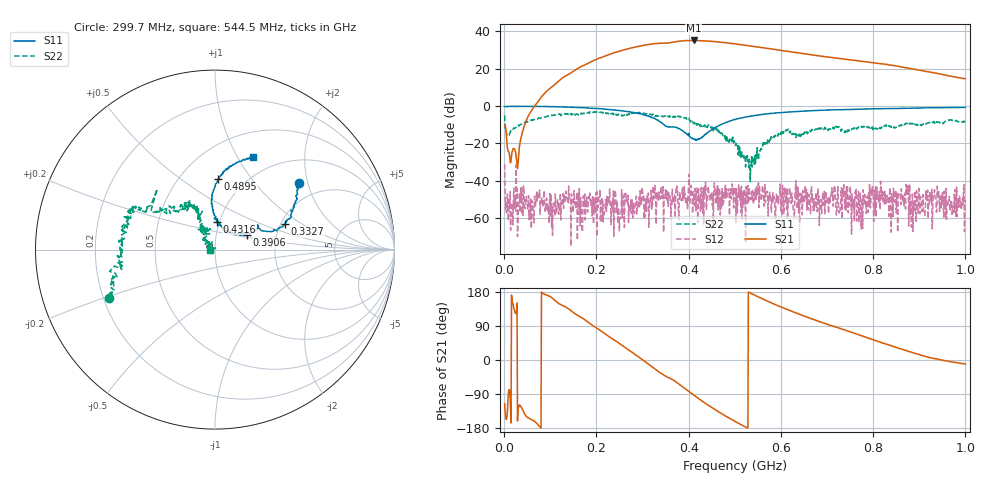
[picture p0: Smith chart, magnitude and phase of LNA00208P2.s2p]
! Created with skrf 1.9.0 (http://scikit-rf.org).
# Hz S RI R 50.0
!freq ReS11 ImS11 ReS21 ImS21 ReS12 ImS12 ReS22 ImS22
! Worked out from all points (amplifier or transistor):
!   1001 points, 1 MHz to 1 GHz, reference 50 ohm
!   highest |S21| = 35.0 dB at 410.6 MHz (marker M1)
!   |S21| within 3 dB of that: 294.6 MHz to 534.3 MHz (239.8 MHz wide, 57.9 % of centre)
!   unconditionally stable (mu >= 1): start of sweep to 139.6 MHz; 323.5 MHz to 400.2 MHz; 400.8 MHz to end of sweep (the widest 3 of 16)
!   at 166.8 MHz: K = 2.45, MAG = 31.3 dB, |S12| = -55.0 dB
!   at 500.5 MHz: K = 1.84, MAG = 34.1 dB, |S12| = -45.6 dB
!   at 1 GHz: K = 4.19, MAG = 23.3 dB, |S12| = -50.4 dB
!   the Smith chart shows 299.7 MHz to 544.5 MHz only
!   S11 on the Smith chart (normalised r, x): 299.7 MHz: 1.52, +1.77; 332.7 MHz: 2.11, +0.73; 390.6 MHz: 1.41, +0.24; 431.6 MHz: 0.98, +0.31; 489.5 MHz: 0.76, +0.70; 544.5 MHz: 0.78, +1.16
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1000000  0.7363 -0.6203  -0.1283 -0.2708  0.0121 -0.0248  0.4325 0.3448
1.01899e8  -0.6899 0.6575  -3.03 0.7718  -0.00273 0.0034  0.4601 -0.3144
1.67833e8  -0.2265 0.8685  -4.302 10.62  -0.000407 -0.000553  0.0421 -0.6384
2.06794e8  0.066 0.8375  3.448 18.78  -2.99e-05 -0.00354  -0.154 -0.6536
2.42758e8  0.2838 0.7118  17.69 20.79  -0.000827 -0.00113  -0.2941 -0.4881
2.72728e8  0.4154 0.5525  31.77 14.49  0.00143 0.00182  -0.5341 -0.3399
2.99701e8  0.4687 0.3733  41.28 0.5697  0.000234 0.00573  -0.5903 -0.2701
3.32668e8  0.3896 0.143  41.52 -22.67  0.00051 0.00306  -0.5422 -0.0331
3.34666e8  0.3783 0.1285  40.7 -24  0.00201 0.00293  -0.5368 -0.046
3.68632e8  0.2382 0.1286  29.94 -41.87  0.00244 0.00252  -0.4759 0.1724
3.9061e8  0.1764 0.0812  15.04 -53.36  0.0056 0.00393  -0.4149 0.2285
4.1059e8  0.0887 0.0915  -2.239 -56.36  0.00174 0.00475  -0.2692 0.2002
4.31569e8  0.012 0.1555  -19.08 -51.95  0.00532 0.00339  -0.1739 0.2264
4.6054e8  -0.0201 0.2764  -35.96 -37.84  0.00431 0.00471  -0.1099 0.2198
4.89511e8  0.0178 0.3922  -43.03 -20.29  0.00404 0.00128  -0.0252 0.1162
5.005e8  0.0455 0.4253  -43.72 -13.96  -0.00446 0.00272  -0.0297 0.0893
5.44456e8  0.2123 0.5133  -37.9 6.474  0.0046 -0.0033  -0.0256 -0.00233
5.96404e8  0.4173 0.5065  -24.52 19.26  0.00294 -0.00335  -0.1725 -0.0994
6.67333e8  0.641 0.3782  -7.203 21.89  0.000909 -0.0028  -0.2312 -0.0181
7.53247e8  0.7917 0.1433  4.942 16.14  0.000228 -0.00029  -0.2276 0.0552
8.34166e8  0.8411 -0.1016  9.687 8.008  -0.00063 -0.000907  -0.2835 0.0308
1e9  0.701 -0.5835  5.258 -0.9768  -0.00196 0.00228  -0.2696 0.262
